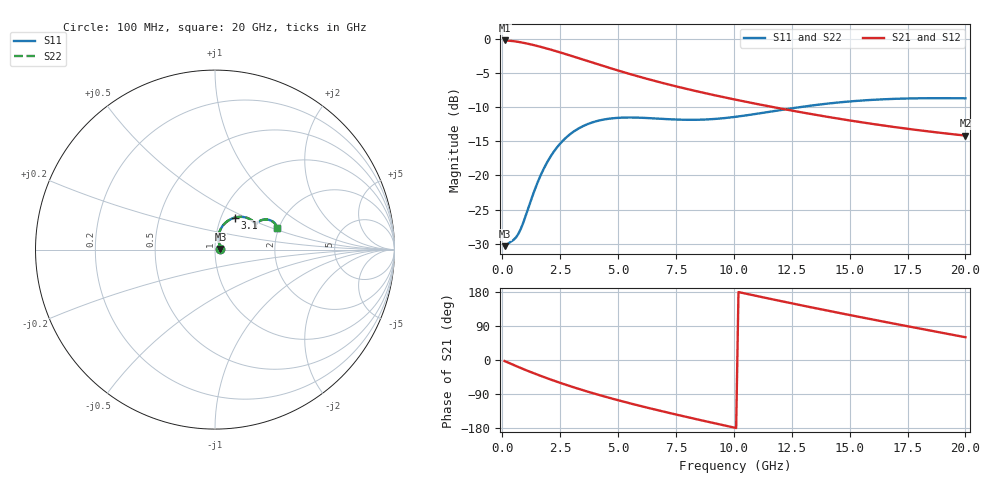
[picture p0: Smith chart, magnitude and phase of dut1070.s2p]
! Touchstone file exported from HFSS 2024.1.0
!  File:  C:/UserFiles/LocalFiles/RDL_TSV_Batchsim/temp_RDL_TSV_1070_1780092881.aedt
!  Generated:  06:32:35 AM May 30, 2026
!  Design:  RDL_TSV
!  Project:  temp_RDL_TSV_1070_1780092881
!  Setup:  Setup1
!  Solution:  Sweep
! Variables:
!  dtsv = 13.93um
!  hbump = 3um
!  htsv = 81.22um
!  ldown = 578.98um
!  lrdl = 639.87um
!  p = 40
!  p1 = 54.65um
!  rhole = 10um
!  subl = 4296.42um
!  t = 450um
!  tdown = 3.04um
!  trdl = 2.88um
!  viad = 10um
!  wdown = 11.95um
!  wrdl = 22.69um
!  xbump = 18um
# GHz S MA R 50.000000
! Terminal data exported
! Port[1] = TM1_1_T1
! Port[2] = TM1_4_T1
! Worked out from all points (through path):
!   200 points, 100 MHz to 20 GHz, reference 50 ohm
!   highest |S21| = -0.27 dB at 100 MHz (marker M1); lowest = -14.2 dB at 20 GHz (marker M2)
!   group delay of S21, straight-line fit = 39.3 ps
!   lowest |S11| = -30.4 dB at 100 MHz (marker M3), VSWR 1.06, Z = 53.1 + j0.435 ohm
!   |S11| at or under -10 dB: start of sweep to 12.9 GHz
!   |S22| runs from -30.4 to -8.7 dB; largest |S21 - S12| = 1.7e-13
!   S11 on the Smith chart (normalised r, x): 100 MHz: 1.06, +0.01; 3.1 GHz: 1.16, +0.43; 20 GHz: 1.95, +0.55
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0.1  0.03035 7.8  0.9693 -2.7  0.9693 -2.7  0.03035 7.8
! Gamma 0 0 0 0
! Port Impedance 50 0 50 0
0.5  0.03391 33.7  0.9568 -13.5  0.9568 -13.5  0.03391 33.7
0.7  0.03748 47.9  0.9458 -18.7  0.9458 -18.7  0.03747 47.9
0.9  0.04478 60.7  0.9326 -23.7  0.9326 -23.7  0.04476 60.7
1.1  0.05606 69.5  0.9176 -28.7  0.9176 -28.7  0.05602 69.5
1.6  0.09516 76.0  0.8755 -40.6  0.8755 -40.6  0.0951 76.0
1.9  0.1213 74.3  0.8484 -47.4  0.8484 -47.4  0.1213 74.3
2.3  0.1551 69.6  0.8112 -56.1  0.8112 -56.1  0.155 69.6
2.7  0.185 63.9  0.7738 -64.4  0.7738 -64.4  0.185 64.0
3.1  0.21 58.1  0.7371 -72.4  0.7371 -72.4  0.21 58.2
3.5  0.2297 52.6  0.7015 -80.0  0.7015 -80.0  0.2297 52.7
4.3  0.2544 43.1  0.6354 -94.4  0.6354 -94.4  0.2545 43.2
5.1  0.2639 36.0  0.5774 -107.7  0.5774 -107.7  0.2641 36.1
5.9  0.2641 31.2  0.5275 -120.3  0.5275 -120.3  0.2644 31.3
6.8  0.2595 28.5  0.4797 -133.8  0.4797 -133.8  0.2599 28.5
8.3  0.2547 28.6  0.4157 -155.1  0.4157 -155.1  0.2552 28.6
10.1  0.2683 31.7  0.3569 -179.4  0.3569 -179.4  0.2687 31.6
11.7  0.2946 32.7  0.3154 159.7  0.3154 159.7  0.2949 32.6
13.4  0.3247 31.1  0.2796 138.3  0.2796 138.3  0.3248 31.0
15  0.3471 28.2  0.2521 118.7  0.2521 118.7  0.3471 28.1
16.7  0.3614 24.7  0.2284 98.5  0.2284 98.5  0.3613 24.6
20  0.3658 19.4  0.1953 60.1  0.1953 60.1  0.3655 19.4
